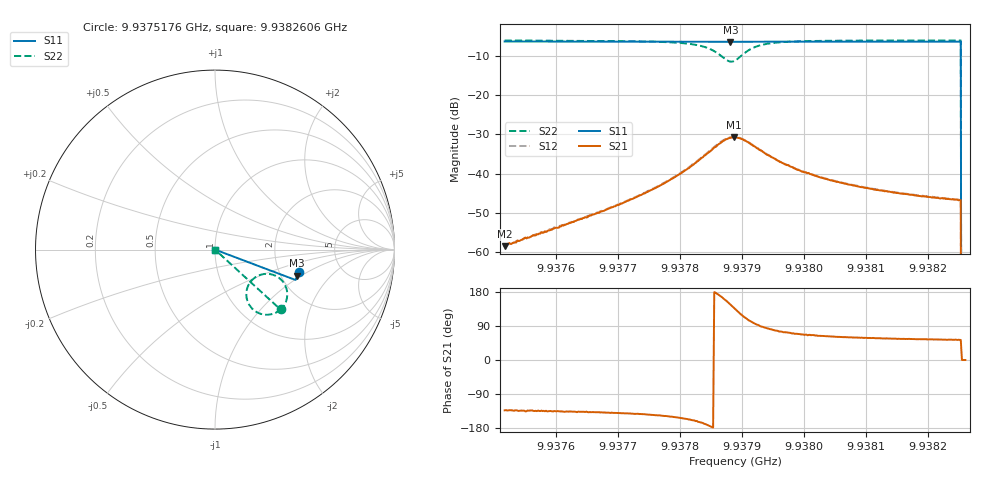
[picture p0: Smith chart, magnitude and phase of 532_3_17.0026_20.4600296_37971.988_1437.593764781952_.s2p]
#  HZ  S  RI  R  50.00
! Rohde & Schwarz Vector Network Analyzer
! Rohde-Schwarz,ZNB20-2Port,1311601062101988,3.16
! Created: UTC 3/20/2024, 11:15:57 PM
! freq[Hz]  re:S11  im:S11  re:S21  im:S21  re:S12  im:S12  re:S22  im:S22
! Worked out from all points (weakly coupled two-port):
!   401 points, 9.9375176 GHz to 9.9382606 GHz, reference 50 ohm
!   highest |S21| = -30.79 dB at 9.9378872 GHz (marker M1); lowest = -58.5 dB at 9.9375176 GHz (marker M2)
!   lowest |S11| = -6.4 dB at 9.9378817 GHz (marker M3), VSWR 2.83, Z = 121 - j45.7 ohm
!   |S11| at or under -10 dB: 9.9382532 GHz to end of sweep
!   |S22| runs from - to -6.1 dB; largest |S21 - S12| = 0.0013
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9.93751755e9  0.4668 -0.1226  -0.000806 -0.000869  -0.000859 -0.000871  0.3694 -0.3316
9.93764202e9  0.4639 -0.1311  -0.00192 -0.00179  -0.00197 -0.0018  0.3532 -0.3435
9.93770518e9  0.4623 -0.1354  -0.00317 -0.00263  -0.00323 -0.00262  0.3392 -0.3513
9.93776649e9  0.4607 -0.1395  -0.00571 -0.00386  -0.00593 -0.00383  0.3139 -0.3602
9.93780364e9  0.4593 -0.1421  -0.00921 -0.00456  -0.00951 -0.00453  0.2835 -0.363
9.9378408e9  0.4575 -0.1445  -0.0167 -0.00333  -0.0172 -0.00303  0.2238 -0.343
9.9378538e9  0.4565 -0.1451  -0.0208 -0.000573  -0.0212 8.96e-05  0.1952 -0.3148
9.93786681e9  0.4558 -0.1454  -0.0242 0.00544  -0.0248 0.00623  0.1751 -0.2623
9.93787609e9  0.4552 -0.1453  -0.0249 0.0117  -0.025 0.0128  0.1805 -0.212
9.93788167e9  0.4551 -0.1452  -0.0237 0.0159  -0.0236 0.0169  0.1962 -0.1817
9.93788724e9  0.4553 -0.1449  -0.0214 0.0194  -0.021 0.0206  0.2208 -0.1573
9.9378891e9  0.4554 -0.1448  -0.0202 0.0205  -0.02 0.0216  0.2304 -0.1507
9.93789839e9  0.4556 -0.1448  -0.0142 0.0239  -0.0137 0.0246  0.2826 -0.1351
9.93791139e9  0.4564 -0.1456  -0.0062 0.0239  -0.00587 0.0244  0.3437 -0.1492
9.93793183e9  0.4568 -0.1473  0.000654 0.0195  0.00109 0.0194  0.3893 -0.1954
9.93796898e9  0.4564 -0.1503  0.00377 0.0126  0.00412 0.0126  0.4028 -0.2537
9.93801357e9  0.4552 -0.1537  0.00395 0.00882  0.00428 0.00884  0.3967 -0.2868
9.9380693e9  0.4538 -0.1576  0.00366 0.00637  0.00382 0.00635  0.3876 -0.3072
9.93813803e9  0.4521 -0.1621  0.00323 0.00491  0.00331 0.00489  0.3786 -0.3214
9.9382495e9  0.4489 -0.1693  0.00273 0.00366  0.00285 0.00369  0.3674 -0.3351
9.93825879e9  0 0  0 0  0 0  0 0
9.93826064e9  0 0  0 0  0 0  0 0
